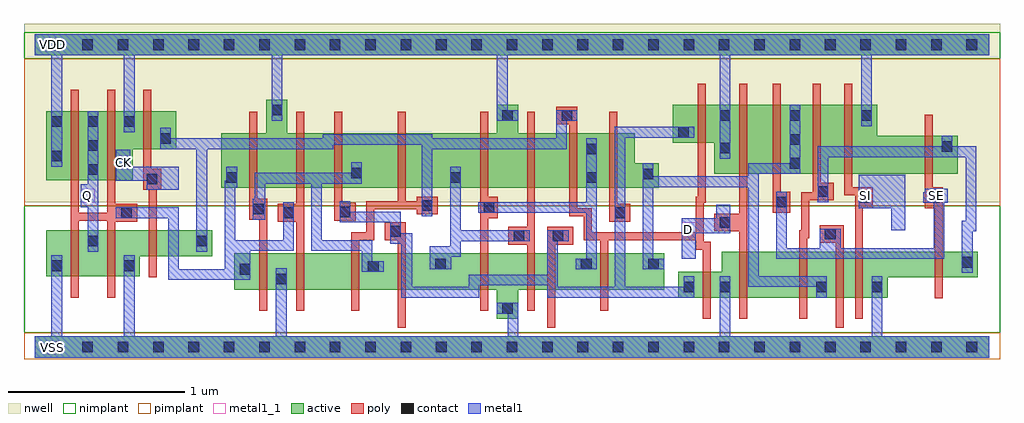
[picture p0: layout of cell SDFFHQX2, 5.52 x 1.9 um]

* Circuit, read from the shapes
.subckt SDFFHQX2 CK D Q SE SI VDD VSS
M1 Q n1 VSS VSS nfet w=0.26u l=0.045u m=2
M2 n2 CK VSS VSS nfet w=0.145u l=0.045u
M3 VSS n3 n1 VSS nfet w=0.205u l=0.045u
M4 n4 n1 VSS VSS nfet w=0.205u l=0.045u
M5 n3 n2 n4 VSS nfet w=0.205u l=0.045u
M6 n5 n6 n3 VSS nfet w=0.205u l=0.045u
M7 VSS n7 n5 VSS nfet w=0.205u l=0.045u
M8 n8 n5 VSS VSS nfet w=0.205u l=0.045u
M9 n7 n6 n8 VSS nfet w=0.205u l=0.045u
M10 n9 n2 n7 VSS nfet w=0.205u l=0.045u
M11 VSS n2 n6 VSS nfet w=0.145u l=0.045u
M12 n10 D VSS VSS nfet w=0.26u l=0.045u
M13 n9 n11 n10 VSS nfet w=0.26u l=0.045u
M14 n12 SE n9 VSS nfet w=0.26u l=0.045u
M15 VSS SI n12 VSS nfet w=0.26u l=0.045u
M16 n11 SE VSS VSS nfet w=0.145u l=0.045u
M17 Q n1 VDD VDD pfet w=0.39u l=0.045u m=2
M18 n2 CK VDD VDD pfet w=0.215u l=0.045u
M19 VDD n3 n1 VDD pfet w=0.31u l=0.045u
M20 n13 n1 VDD VDD pfet w=0.31u l=0.045u
M21 n3 n6 n13 VDD pfet w=0.31u l=0.045u
M22 n5 n2 n3 VDD pfet w=0.31u l=0.045u
M23 VDD n7 n5 VDD pfet w=0.31u l=0.045u
M24 n14 n5 VDD VDD pfet w=0.31u l=0.045u
M25 n7 n2 n14 VDD pfet w=0.31u l=0.045u
M26 n9 n6 n7 VDD pfet w=0.31u l=0.045u
M27 VDD n2 n6 VDD pfet w=0.215u l=0.045u
M28 n15 D VDD VDD pfet w=0.39u l=0.045u
M29 n9 SE n15 VDD pfet w=0.39u l=0.045u
M30 n16 n11 n9 VDD pfet w=0.39u l=0.045u
M31 VDD SI n16 VDD pfet w=0.39u l=0.045u
M32 n11 SE VDD VDD pfet w=0.215u l=0.045u
.ends

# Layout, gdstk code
import gdstk
lib = gdstk.Library(unit=1e-6, precision=5e-10)
def R(c, l, rs):  # rectangles x0, y0, x1, y1
    for r in rs: c.add(gdstk.rectangle(r[:2], r[2:], *l))
def A(c, l, x, y, w, h, nx, ny, dx, dy):  # array of equal rectangles
    R(c, l, [(x+i*dx, y+j*dy, x+i*dx+w, y+j*dy+h) for i in range(nx) for j in range(ny)])
def P(c, l, *ps):  # polygons
    for p in ps: c.add(gdstk.Polygon(p, *l))
active = (1, 0)
nwell = (2, 0)
poly = (3, 0)
nimplant = (4, 0)
pimplant = (5, 0)
contact = (6, 0)
metal1 = (7, 0)
metal1_1 = (7, 1)

sdffhqx2 = lib.new_cell('SDFFHQX2')
R(sdffhqx2, active, [(0,-0.06,5.4,0.06), (0,1.65,5.4,1.77)])
P(sdffhqx2, active, [(1.31,1.4),(1.43,1.4),(1.43,1.21),(2.615,1.21),(2.615,1.37),(2.735,1.37),(2.735,1.21),(3.395,1.21),(3.395,1.04),(3.53,1.04),(3.53,0.9),(1.055,0.9),(1.055,1.21),(1.31,1.21)],
  [(0.065,1.335),(0.8,1.335),(0.8,1.12),(0.555,1.12),(0.555,0.945),(0.065,0.945)],
  [(3.61,1.37),(4.765,1.37),(4.765,1.195),(5.22,1.195),(5.22,0.98),(3.845,0.98),(3.845,1.155),(3.61,1.155)],
  [(0.065,0.66),(1.005,0.66),(1.005,0.515),(0.595,0.515),(0.595,0.4),(0.065,0.4)],
  [(1.13,0.53),(3.56,0.53),(3.56,0.325),(2.735,0.325),(2.735,0.16),(2.615,0.16),(2.615,0.325),(1.13,0.325)],
  [(3.885,0.54),(5.335,0.54),(5.335,0.395),(4.825,0.395),(4.825,0.28),(3.64,0.28),(3.64,0.425),(3.885,0.425)])
R(sdffhqx2, nwell, [(-0.06,0.82,5.46,1.83)])
P(sdffhqx2, poly, [(0.205,1.455),(0.25,1.455),(0.25,0.76),(0.41,0.76),(0.41,1.455),(0.455,1.455),(0.455,0.81),(0.58,0.81),(0.58,0.71),(0.455,0.71),(0.455,0.28),(0.41,0.28),(0.41,0.715),(0.25,0.715),(0.25,0.28),(0.205,0.28)],
  [(0.615,1.455),(0.66,1.455),(0.66,1.01),(0.715,1.01),(0.715,0.89),(0.69,0.89),(0.69,0.395),(0.645,0.395),(0.645,0.89),(0.615,0.89)],
  [(2.95,1.36),(3.07,1.36),(3.07,0.785),(3.15,0.785),(3.15,0.65),(3.74,0.65),(3.74,0.85),(3.75,0.85),(3.75,1.49),(3.795,1.49),(3.795,0.815),(3.785,0.815),(3.785,0.595),(3.825,0.595),(3.825,0.16),(3.78,0.16),(3.78,0.55),(3.74,0.55),(3.74,0.605),(3.245,0.605),(3.245,0.205),(3.2,0.205),(3.2,0.605),(3.105,0.605),(3.105,0.74),(3.025,0.74),(3.025,1.26),(2.95,1.26)],
  [(1.215,1.33),(1.26,1.33),(1.26,0.84),(1.315,0.84),(1.315,0.205),(1.27,0.205),(1.27,0.72),(1.215,0.72)],
  [(1.48,1.33),(1.525,1.33),(1.525,0.205),(1.48,0.205),(1.48,0.71),(1.375,0.71),(1.375,0.81),(1.48,0.81)],
  [(1.695,1.33),(1.74,1.33),(1.74,0.815),(1.815,0.815),(1.815,0.715),(1.695,0.715)],
  [(2.055,1.33),(2.1,1.33),(2.1,0.825),(2.16,0.825),(2.16,0.85),(2.28,0.85),(2.28,0.75),(2.16,0.75),(2.16,0.78),(1.92,0.78),(1.92,0.605),(1.835,0.605),(1.835,0.205),(1.79,0.205),(1.79,0.65),(1.875,0.65),(1.875,0.825),(2.055,0.825)],
  [(2.52,1.33),(2.565,1.33),(2.565,0.85),(2.62,0.85),(2.62,0.73),(2.565,0.73),(2.565,0.205),(2.52,0.205)],
  [(2.785,1.33),(2.83,1.33),(2.83,0.205),(2.785,0.205),(2.785,0.58),(2.68,0.58),(2.68,0.68),(2.785,0.68)],
  [(3.985,1.49),(4.03,1.49),(4.03,0.16),(3.985,0.16),(3.985,0.655),(3.845,0.655),(3.845,0.755),(3.985,0.755)],
  [(4.175,1.49),(4.22,1.49),(4.22,0.88),(4.275,0.88),(4.275,0.76),(4.175,0.76)],
  [(4.4,1.49),(4.445,1.49),(4.445,0.93),(4.52,0.93),(4.52,0.83),(4.38,0.83),(4.38,0.615),(4.37,0.615),(4.37,0.16),(4.325,0.16),(4.325,0.66),(4.335,0.66),(4.335,0.875),(4.4,0.875)],
  [(4.58,1.49),(4.625,1.49),(4.625,0.905),(4.74,0.905),(4.74,0.785),(4.685,0.785),(4.685,0.16),(4.64,0.16),(4.64,0.86),(4.58,0.86)],
  [(3.25,1.33),(3.295,1.33),(3.295,0.81),(3.37,0.81),(3.37,0.71),(3.25,0.71)],
  [(5.035,1.315),(5.08,1.315),(5.08,0.905),(5.135,0.905),(5.135,0.275),(5.09,0.275),(5.09,0.785),(5.035,0.785)],
  [(1.98,0.705),(2.1,0.705),(2.1,0.11),(2.055,0.11),(2.055,0.605),(1.98,0.605)],
  [(2.9,0.68),(3.045,0.68),(3.045,0.58),(2.945,0.58),(2.945,0.11),(2.9,0.11)],
  [(4.44,0.69),(4.575,0.69),(4.575,0.11),(4.53,0.11),(4.53,0.59),(4.44,0.59)])
R(sdffhqx2, nimplant, [(-0.06,0.08,5.46,0.8), (-0.06,1.63,5.46,1.78)])
R(sdffhqx2, pimplant, [(-0.06,-0.07,5.46,0.08), (-0.06,0.8,5.46,1.63)])
A(sdffhqx2, contact, 0.07, -0.03, 0.06, 0.06, 27, 2, 0.2, 1.71)
A(sdffhqx2, contact, 4.27, 1.01, 0.06, 0.06, 1, 3, 0, 0.135)
A(sdffhqx2, contact, 0.095, 1.245, 0.06, 0.06, 3, 1, 0.205, 0)
R(sdffhqx2, contact, [(2.645,0.19,2.705,0.25), (3.67,0.31,3.73,0.37), (3.875,0.31,3.935,0.37), (4.42,0.31,4.48,0.37), (4.735,0.31,4.795,0.37), (1.365,0.355,1.425,0.415), (1.16,0.41,1.22,0.47), (1.885,0.425,1.945,0.485), (0.095,0.43,0.155,0.49), (0.505,0.43,0.565,0.49), (2.265,0.44,2.325,0.5), (3.09,0.44,3.15,0.5), (3.47,0.44,3.53,0.5), (5.245,0.45,5.305,0.51), (0.3,0.57,0.36,0.63), (0.915,0.57,0.975,0.63), (2.71,0.6,2.77,0.66), (2.93,0.6,2.99,0.66), (4.47,0.61,4.53,0.67), (2.01,0.625,2.07,0.685), (3.875,0.675,3.935,0.735), (0.49,0.73,0.55,0.79), (1.405,0.73,1.465,0.79), (3.28,0.73,3.34,0.79), (1.725,0.735,1.785,0.795), (1.235,0.75,1.295,0.81), (2.54,0.76,2.6,0.82), (2.19,0.77,2.25,0.83), (4.195,0.79,4.255,0.85), (4.66,0.815,4.72,0.875), (5.055,0.815,5.115,0.875), (4.43,0.85,4.49,0.91), (0.635,0.92,0.695,0.98), (1.085,0.93,1.145,0.99), (2.35,0.93,2.41,0.99), (3.12,0.93,3.18,0.99), (3.44,0.95,3.5,1.01), (1.79,0.955,1.85,1.015), (0.3,0.975,0.36,1.035), (0.095,1.05,0.155,1.11), (3.12,1.09,3.18,1.15), (3.875,1.095,3.935,1.155), (5.13,1.105,5.19,1.165), (0.3,1.11,0.36,1.17), (0.71,1.15,0.77,1.21), (3.64,1.185,3.7,1.245), (2.645,1.28,2.705,1.34), (2.98,1.28,3.04,1.34), (3.875,1.28,3.935,1.34), (4.675,1.28,4.735,1.34), (1.34,1.31,1.4,1.37)])
P(sdffhqx2, metal1, [(0,1.77),(5.4,1.77),(5.4,1.65),(4.735,1.65),(4.735,1.25),(4.675,1.25),(4.675,1.65),(3.935,1.65),(3.935,1.065),(3.875,1.065),(3.875,1.65),(2.675,1.65),(2.675,1.34),(2.735,1.34),(2.735,1.28),(2.615,1.28),(2.615,1.65),(1.4,1.65),(1.4,1.28),(1.34,1.28),(1.34,1.65),(0.565,1.65),(0.565,1.215),(0.505,1.215),(0.505,1.65),(0.155,1.65),(0.155,1.02),(0.095,1.02),(0.095,1.65),(0,1.65)],
  [(0.3,1.335),(0.36,1.335),(0.36,0.54),(0.3,0.54),(0.3,0.79),(0.26,0.79),(0.26,0.92),(0.3,0.92)],
  [(2.95,1.34),(3.07,1.34),(3.07,1.28),(3.01,1.28),(3.01,1.12),(2.25,1.12),(2.25,0.74),(2.19,0.74),(2.19,1.145),(1.69,1.145),(1.69,1.12),(0.975,1.12),(0.975,0.54),(0.915,0.54),(0.915,1.12),(0.71,1.12),(0.71,1.24),(0.77,1.24),(0.77,1.18),(1.63,1.18),(1.63,1.205),(2.25,1.205),(2.25,1.18),(2.95,1.18)],
  [(0.46,1.115),(0.54,1.115),(0.54,1.02),(0.815,1.02),(0.815,0.89),(0.635,0.89),(0.635,0.94),(0.46,0.94)],
  [(1.085,1.02),(1.145,1.02),(1.145,0.9),(1.135,0.9),(1.135,0.605),(1.405,0.605),(1.405,0.82),(1.465,0.82),(1.465,0.545),(1.22,0.545),(1.22,0.38),(0.755,0.38),(0.755,0.73),(0.46,0.73),(0.46,0.79),(0.815,0.79),(0.815,0.44),(1.075,0.44),(1.075,0.94),(1.085,0.94)],
  [(0.095,0.52),(0.155,0.52),(0.155,0.06),(0.505,0.06),(0.505,0.52),(0.565,0.52),(0.565,0.06),(1.365,0.06),(1.365,0.445),(1.425,0.445),(1.425,0.06),(2.675,0.06),(2.675,0.19),(2.615,0.19),(2.615,0.25),(2.735,0.25),(2.735,0.06),(3.875,0.06),(3.875,0.4),(3.935,0.4),(3.935,0.06),(4.735,0.06),(4.735,0.4),(4.795,0.4),(4.795,0.06),(5.4,0.06),(5.4,-0.06),(0,-0.06),(0,0.06),(0.095,0.06)],
  [(1.79,1.045),(1.85,1.045),(1.85,0.925),(1.625,0.925),(1.625,0.605),(1.91,0.605),(1.91,0.485),(1.975,0.485),(1.975,0.425),(1.85,0.425),(1.85,0.545),(1.565,0.545),(1.565,0.925),(1.305,0.925),(1.305,0.72),(1.235,0.72),(1.235,0.84),(1.245,0.84),(1.245,0.985),(1.79,0.985)],
  [(3.12,1.18),(3.18,1.18),(3.18,0.44),(3.06,0.44),(3.06,0.5),(3.12,0.5),(3.12,0.76),(2.51,0.76),(2.51,0.82),(3.12,0.82)],
  [(3.28,1.245),(3.73,1.245),(3.73,1.185),(3.34,1.185),(3.34,0.34),(3.67,0.34),(3.67,0.4),(3.73,0.4),(3.73,0.28),(2.9,0.28),(2.9,0.35),(2.515,0.35),(2.515,0.28),(2.075,0.28),(2.075,0.585),(2.01,0.585),(2.01,0.705),(1.725,0.705),(1.725,0.825),(1.785,0.825),(1.785,0.765),(2.07,0.765),(2.07,0.645),(2.135,0.645),(2.135,0.34),(2.455,0.34),(2.455,0.41),(2.9,0.41),(2.9,0.66),(3.02,0.66),(3.02,0.6),(2.96,0.6),(2.96,0.34),(3.28,0.34)],
  [(2.35,1.02),(2.41,1.02),(2.41,0.66),(2.8,0.66),(2.8,0.6),(2.41,0.6),(2.41,0.51),(2.355,0.51),(2.355,0.44),(2.235,0.44),(2.235,0.57),(2.35,0.57)],
  [(4.27,1.37),(4.33,1.37),(4.33,0.98),(4.095,0.98),(4.095,0.4),(4.48,0.4),(4.48,0.28),(4.42,0.28),(4.42,0.34),(4.035,0.34),(4.035,0.905),(3.5,0.905),(3.5,0.5),(3.56,0.5),(3.56,0.44),(3.44,0.44),(3.44,1.04),(3.5,1.04),(3.5,0.965),(4.035,0.965),(4.035,1.04),(4.27,1.04)],
  [(5.13,1.195),(5.19,1.195),(5.19,1.135),(5.325,1.135),(5.325,0.655),(5.305,0.655),(5.305,0.42),(5.245,0.42),(5.245,0.715),(5.265,0.715),(5.265,1.075),(4.49,1.075),(4.49,0.82),(4.43,0.82),(4.43,1.135),(5.13,1.135)],
  [(3.855,0.805),(3.935,0.805),(3.935,0.645),(3.74,0.645),(3.74,0.5),(3.66,0.5),(3.66,0.73),(3.855,0.73)],
  [(4.195,0.88),(4.255,0.88),(4.255,0.56),(4.44,0.56),(4.44,0.67),(4.56,0.67),(4.56,0.56),(5.085,0.56),(5.085,0.815),(5.025,0.815),(5.025,0.875),(5.035,0.875),(5.035,0.895),(5.165,0.895),(5.165,0.815),(5.145,0.815),(5.145,0.5),(4.195,0.5)],
  [(4.66,0.975),(4.925,0.975),(4.925,0.66),(4.845,0.66),(4.845,0.785),(4.66,0.785)])
R(sdffhqx2, metal1_1, [(0.06,-0.04,0.14,0.04), (3.66,0.625,3.74,0.705), (0.26,0.815,0.34,0.895), (4.66,0.815,4.74,0.895), (5.06,0.815,5.14,0.895), (0.46,1.005,0.54,1.085), (0.06,1.67,0.14,1.75)])
sdffhqx2.add(gdstk.Label('Q', (0.3,0.855), layer=7, texttype=1))
sdffhqx2.add(gdstk.Label('SE', (5.1,0.855), layer=7, texttype=1))
sdffhqx2.add(gdstk.Label('SI', (4.7,0.855), layer=7, texttype=1))
sdffhqx2.add(gdstk.Label('D', (3.7,0.665), layer=7, texttype=1))
sdffhqx2.add(gdstk.Label('CK', (0.5,1.045), layer=7, texttype=1))
sdffhqx2.add(gdstk.Label('VDD', (0.1,1.71), layer=7, texttype=1))
sdffhqx2.add(gdstk.Label('VSS', (0.1,0), layer=7, texttype=1))
sdffhqx2.add(gdstk.Label('SDFFHQX2', (0,0), layer=63, texttype=0))

lib.write_gds('SDFFHQX2.gds')
